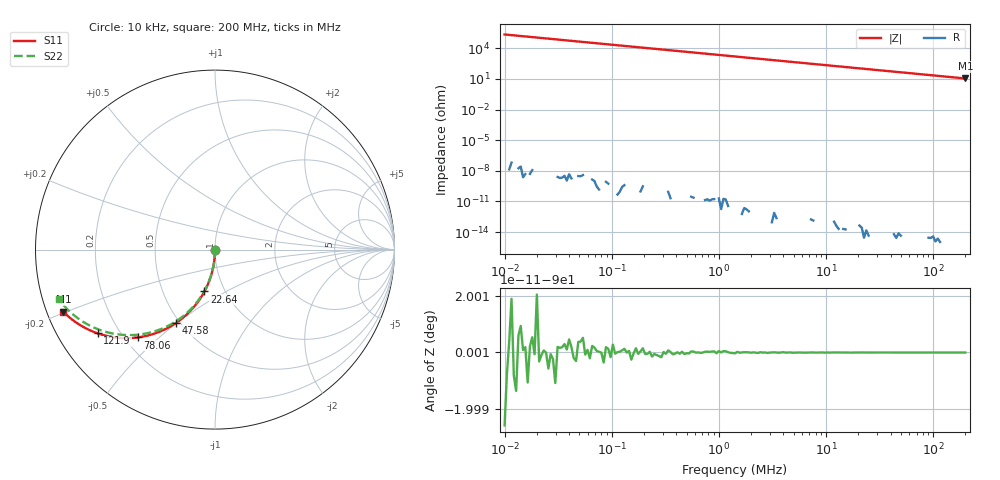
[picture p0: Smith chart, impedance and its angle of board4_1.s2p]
! Created with skrf 1.8.0 (http://scikit-rf.org).
# MHz S RI R 50.0
!freq ReS11 ImS11 ReS21 ImS21 ReS12 ImS12 ReS22 ImS22
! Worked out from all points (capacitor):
!   201 points, 10 kHz to 200 MHz, reference 50 ohm
!   read as one part in shunt: C = 70.8 pF near 10.51 kHz
!   lowest |Z| = 11 ohm at 200 MHz (marker M1)
!   S11 on the Smith chart (normalised r, x): 10 kHz: 1.00, -0.00; 22.64 MHz: 0.80, -0.40; 47.58 MHz: 0.48, -0.50; 78.06 MHz: 0.25, -0.43; 121.9 MHz: 0.12, -0.32; 200 MHz: 0.05, -0.20
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0.01  3.73e-05 -0.000109  1 -0.000113  1 -0.000113  3.73e-05 -0.000109
0.01903562  3.73e-05 -0.000208  1 -0.000215  1 -0.000215  3.73e-05 -0.000208
0.05384868  3.7e-05 -0.000589  1 -0.000608  1 -0.000608  3.7e-05 -0.000589
0.2759593  2.81e-05 -0.00302  1 -0.00312  1 -0.00312  2.78e-05 -0.00302
1.414214  -0.000206 -0.0155  0.9997 -0.016  0.9997 -0.016  -0.000214 -0.0155
3.623371  -0.00155 -0.0396  0.9983 -0.0409  0.9983 -0.0409  -0.00161 -0.0396
5.384607  -0.00347 -0.0587  0.9964 -0.0606  0.9964 -0.0606  -0.0036 -0.0587
7.615354  -0.00696 -0.0828  0.9928 -0.0854  0.9928 -0.0854  -0.00721 -0.0828
10.24993  -0.0126 -0.1108  0.9871 -0.1144  0.9871 -0.1144  -0.013 -0.1107
13.79596  -0.0226 -0.1476  0.9769 -0.1524  0.9769 -0.1524  -0.0234 -0.1475
17.67167  -0.0365 -0.1864  0.9627 -0.1925  0.9627 -0.1925  -0.0379 -0.1861
22.63619  -0.0586 -0.2333  0.9402 -0.241  0.9402 -0.241  -0.0607 -0.2328
30.46732  -0.1015 -0.2998  0.8965 -0.3098  0.8965 -0.3098  -0.1052 -0.2985
39.02654  -0.1566 -0.3606  0.8404 -0.373  0.8404 -0.373  -0.1623 -0.3581
47.5752  -0.2167 -0.4084  0.7792 -0.423  0.7792 -0.423  -0.2244 -0.4042
60.94055  -0.313 -0.4592  0.6811 -0.4767  0.6811 -0.4767  -0.3242 -0.4514
78.06065  -0.4294 -0.4891  0.5625 -0.5098  0.5625 -0.5098  -0.4446 -0.4754
95.15963  -0.5301 -0.4919  0.46 -0.5151  0.46 -0.5151  -0.5485 -0.4713
105.0662  -0.5803 -0.4856  0.4088 -0.5101  0.4088 -0.5101  -0.6003 -0.4606
121.8929  -0.6529 -0.4668  0.3348 -0.4935  0.3348 -0.4935  -0.675 -0.4342
156.1364  -0.7602 -0.415  0.2255 -0.4459  0.2255 -0.4459  -0.7848 -0.3664
200  -0.8447 -0.3467  0.1394 -0.383  0.1394 -0.383  -0.8699 -0.2775
